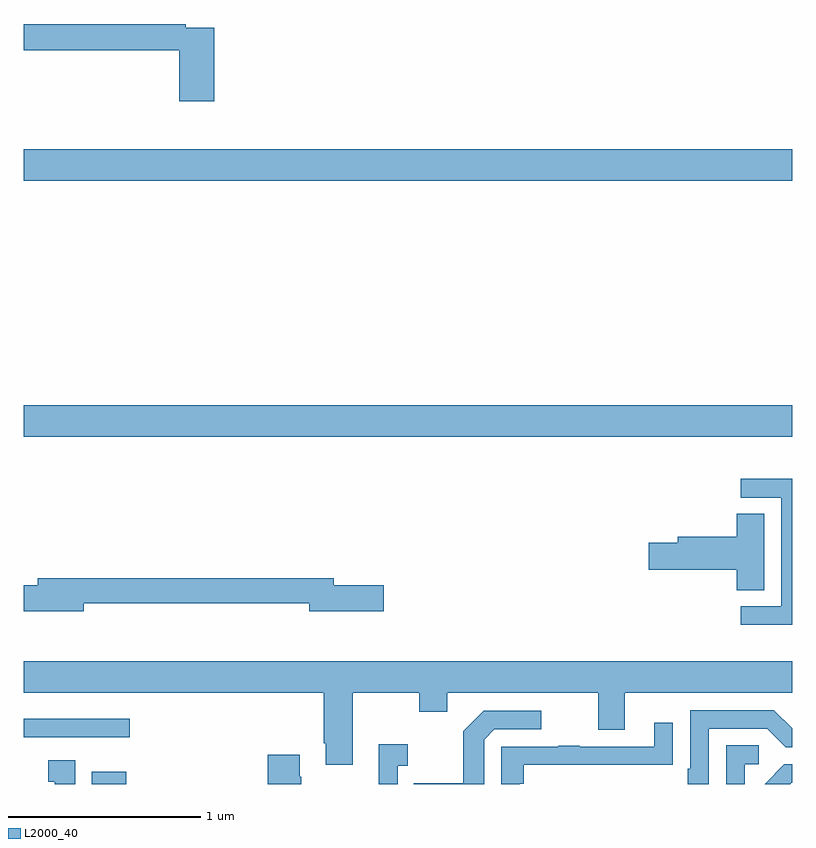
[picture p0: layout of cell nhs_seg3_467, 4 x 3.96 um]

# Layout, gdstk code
import gdstk
lib = gdstk.Library(unit=1e-6, precision=1e-09)
def R(c, l, rs):  # rectangles x0, y0, x1, y1
    for r in rs: c.add(gdstk.rectangle(r[:2], r[2:], *l))
def P(c, l, *ps):  # polygons
    for p in ps: c.add(gdstk.Polygon(p, *l))
L2000_40 = (2000, 40)

nhs_seg3_467 = lib.new_cell('nhs_seg3_467')
R(nhs_seg3_467, L2000_40, [(133.355,740.4,133.534,740.464), (133,740.643,133.552,740.74), (133,742.208,137,742.372), (133,743.54,137,743.704)])
P(nhs_seg3_467, L2000_40, [(133.991,744.336),(133.844,744.336),(133.844,744.356),(133,744.356),(133,744.22),(133.808,744.22),(133.808,743.955),(133.991,743.955)],
  [(137,741.99),(136.731,741.99),(136.731,741.891),(136.944,741.891),(136.944,741.324),(136.731,741.324),(136.731,741.228),(137,741.228)],
  [(136.855,741.806),(136.712,741.806),(136.712,741.686),(136.403,741.686),(136.403,741.656),(136.254,741.656),(136.254,741.514),(136.712,741.514),(136.712,741.409),(136.855,741.409)],
  [(133.312,741.342),(134.486,741.342),(134.486,741.299),(134.875,741.299),(134.875,741.434),(134.614,741.434),(134.614,741.47),(133.073,741.47),(133.073,741.434),(133,741.434),(133,741.299),(133.312,741.299)],
  [(134.713,740.876),(135.058,740.876),(135.058,740.777),(135.205,740.777),(135.205,740.876),(135.989,740.876),(135.989,740.682),(136.129,740.682),(136.129,740.876),(137,740.876),(137,741.04),(133,741.04),(133,740.876),(134.561,740.876),(134.561,740.611),(134.573,740.611),(134.573,740.499),(134.713,740.499)],
  [(136.566,740.688),(136.869,740.688),(136.965,740.592),(137,740.592),(137,740.689),(136.905,740.784),(136.47,740.784),(136.47,740.479),(136.457,740.479),(136.457,740.4),(136.566,740.4)],
  [(135.396,740.631),(135.45,740.685),(135.694,740.685),(135.694,740.781),(135.393,740.781),(135.288,740.675),(135.288,740.403),(135.031,740.403),(135.031,740.4),(135.396,740.4)],
  [(135.582,740.402),(135.602,740.402),(135.602,740.499),(136.277,740.499),(136.277,740.5),(136.379,740.5),(136.379,740.719),(136.283,740.719),(136.283,740.595),(135.893,740.595),(135.893,740.6),(135.781,740.6),(135.781,740.595),(135.486,740.595),(135.486,740.4),(135.582,740.4)],
  [(134.946,740.495),(134.998,740.495),(134.998,740.608),(134.849,740.608),(134.849,740.4),(134.946,740.4)],
  [(136.752,740.502),(136.825,740.502),(136.825,740.603),(136.656,740.603),(136.656,740.4),(136.752,740.4)],
  [(134.445,740.438),(134.437,740.438),(134.437,740.551),(134.27,740.551),(134.27,740.4),(134.445,740.4)],
  [(133.267,740.524),(133.127,740.524),(133.127,740.411),(133.16,740.411),(133.16,740.4),(133.267,740.4)],
  [(136.996,740.406),(137,740.406),(137,740.502),(136.958,740.502),(136.856,740.4),(136.99,740.4)])

lib.write_gds('nhs_seg3_467.gds')
